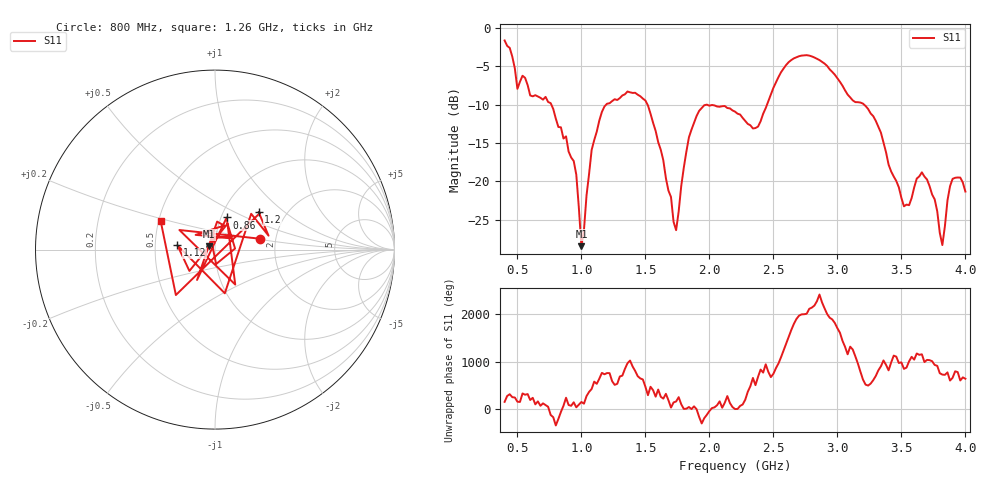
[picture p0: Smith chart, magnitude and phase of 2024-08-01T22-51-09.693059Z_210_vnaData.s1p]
!Created with skrf (http://scikit-rf.org).
# Hz S RI R 50.0
!freq ReS11 ImS11
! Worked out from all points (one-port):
!   181 points, 400 MHz to 4 GHz, reference 50 ohm
!   lowest |S11| = -28.5 dB at 1 GHz (marker M1), VSWR 1.08, Z = 46.8 + j1.79 ohm
!   |S11| at or under -10 dB: 1.517 GHz to 1.976 GHz (459 MHz wide, 26.3 % of centre); 1.982 GHz to 2.45 GHz (467.7 MHz wide, 21.1 % of centre); 3.21 GHz to end of sweep (the widest 3 of 4)
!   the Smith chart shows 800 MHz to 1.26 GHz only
!   S11 on the Smith chart (normalised r, x): 800 MHz: 1.65, +0.21; 860 MHz: 1.06, +0.39; 1.12 GHz: 0.65, +0.03; 1.2 GHz: 1.45, +0.68; 1.26 GHz: 0.51, +0.19
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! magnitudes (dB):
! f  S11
! 400 MHz  -1.6
! 500 MHz  -7.9
! 800 MHz  -11.8
! 860 MHz  -14.4
! 960 MHz  -19.1
! 1 GHz  -28.5
! 1.08 GHz  -15.9
! 1.12 GHz  -13.5
! 1.2 GHz  -9.9
! 1.26 GHz  -9.3
! 1.3 GHz  -9.1
! 1.5 GHz  -9.4
! 1.64 GHz  -17.3
! 1.72 GHz  -25.3
! 1.76 GHz  -23.9
! 1.84 GHz  -14.3
! 1.92 GHz  -10.8
! 2.2 GHz  -10.9
! 2.38 GHz  -12.8
! 2.66 GHz  -3.9
! 3.1 GHz  -9.0
! 3.28 GHz  -11.5
! 3.56 GHz  -23.1
! 3.66 GHz  -18.8
! 3.76 GHz  -22.3
! 3.82 GHz  -28.3
! 3.9 GHz  -19.7
! 4 GHz  -21.3
